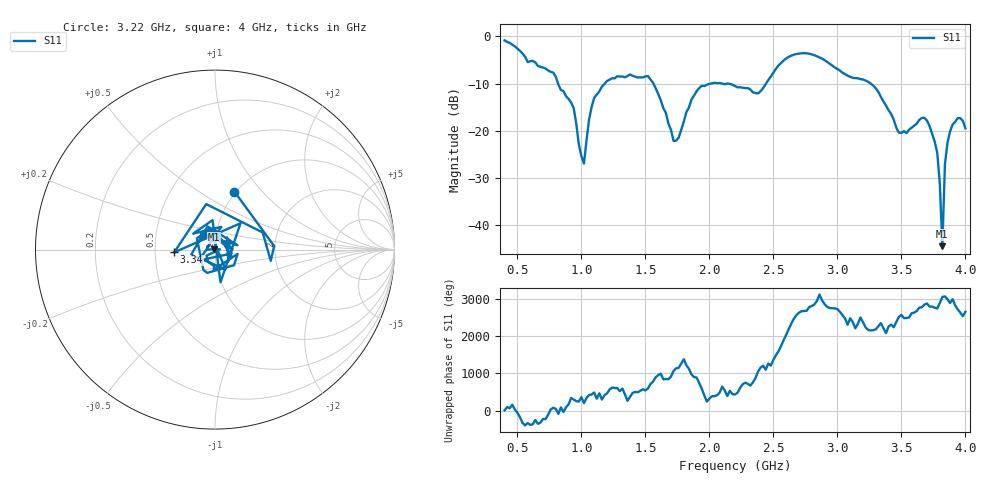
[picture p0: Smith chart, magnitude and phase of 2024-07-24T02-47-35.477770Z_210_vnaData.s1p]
!Created with skrf (http://scikit-rf.org).
# Hz S RI R 50.0
!freq ReS11 ImS11
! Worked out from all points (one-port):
!   181 points, 400 MHz to 4 GHz, reference 50 ohm
!   lowest |S11| = -44.5 dB at 3.82 GHz (marker M1), VSWR 1.01, Z = 49.4 + j0.148 ohm
!   |S11| at or under -10 dB: 817.7 MHz to 1.183 GHz (364.9 MHz wide, 36.5 % of centre); 1.563 GHz to 2.009 GHz (446.5 MHz wide, 25 % of centre); 3.261 GHz to end of sweep (the widest 3 of 5)
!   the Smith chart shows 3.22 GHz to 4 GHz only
!   S11 on the Smith chart (normalised r, x): 3.22 GHz: 0.98, +0.72; 3.34 GHz: 0.63, -0.02; 4 GHz: 0.86, +0.14
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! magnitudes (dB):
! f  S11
! 400 MHz  -0.8
! 860 MHz  -11.6
! 940 MHz  -15.2
! 1.02 GHz  -27.0
! 1.06 GHz  -17.6
! 1.1 GHz  -13.0
! 1.3 GHz  -8.5
! 1.52 GHz  -8.4
! 1.72 GHz  -22.2
! 1.76 GHz  -21.5
! 1.92 GHz  -11.0
! 2.2 GHz  -10.5
! 2.38 GHz  -12.1
! 2.66 GHz  -3.9
! 3.1 GHz  -8.6
! 3.22 GHz  -9.4
! 3.34 GHz  -12.8
! 3.48 GHz  -20.4
! 3.56 GHz  -19.8
! 3.68 GHz  -17.3
! 3.76 GHz  -22.3
! 3.78 GHz  -24.6
! 3.8 GHz  -31.1
! 3.82 GHz  -44.5
! 3.84 GHz  -27.2
! 3.86 GHz  -22.5
! 3.94 GHz  -17.3
! 4 GHz  -19.5
